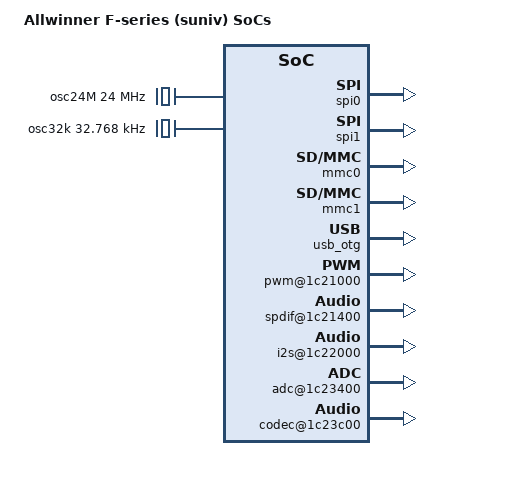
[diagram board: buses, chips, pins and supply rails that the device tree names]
/* SPDX-License-Identifier: GPL-2.0-or-later */
#include <dt-bindings/clk/suniv.h>

/ {
    #address-cells = <1>;
    #size-cells = <1>;
    model = "Allwinner F-series (suniv) SoCs";
    interrupt-parent = <&intc>;

    clocks {
        osc24M: clk-24M {
            #clock-cells = <0>;
            compatible = "fixed-clock";
            clock-frequency = <24000000>;
            clock-output-names = "osc24M";
        };

        osc32k: clk-32k {
            #clock-cells = <0>;
            compatible = "fixed-clock";
            clock-frequency = <32768>;
            clock-output-names = "osc32k";
        };
    };

    soc {
        #address-cells = <1>;
        #size-cells = <1>;
        compatible = "amba-bus";
		dma-ranges;
		ranges;

        system-controller@1c00000 {
            compatible = "allwinner,suniv-sram";
            reg = <0x01c00000 0x30>;
        };

        dma: dma-controller@1c02000 {
            #dma-cells = <1>;
            compatible = "allwinner,suniv-dma";
            reg = <0x01c02000 0x1000>;
            clocks = <&ccu SUNIV_CLK_DMA>;
            resets = <&reset SUNIV_CLK_DMA>;
        };

        spi0: spi@1c05000 {
            #address-cells = <1>;
            #size-cells = <0>;
            compatible = "allwinner,suniv-spi";
            reg = <0x01c05000 0x1000>;
            clocks = <&ccu SUNIV_CLK_SPI0>;
            resets = <&reset SUNIV_CLK_SPI0>;
        };

        spi1: spi@1c06000 {
            #address-cells = <1>;
            #size-cells = <0>;
            compatible = "allwinner,suniv-spi";
            reg = <0x01c05000 0x1000>;
            clocks = <&ccu SUNIV_CLK_SPI1>;
            resets = <&reset SUNIV_CLK_SPI1>;
        };

        mmc0: mmc@1c0f000 {
            compatible = "allwinner,suniv-mmc";
            reg = <0x01c0f000 0x1000>;
            clocks = <&ccu SUNIV_CLK_MMC0>;
            resets = <&reset SUNIV_CLK_MMC0>;
        };

        mmc1: mmc@1c10000 {
            compatible = "allwinner,suniv-mmc";
            reg = <0x01c10000 0x1000>;
            clocks = <&ccu SUNIV_CLK_MMC1>;
            resets = <&reset SUNIV_CLK_MMC1>;
        };

        usb_otg: usb@1c19000 {
            compatible = "allwinner,suniv-musb";
            reg = <0x01c13000 0x1000>;
            clocks = <&ccu SUNIV_CLK_OTG>;
            resets = <&reset SUNIV_CLK_OTG>;
        };

        ccu: clock@1c20000 {
            compatible = "allwinner,suniv-ccu";
            reg = <0x01c20000 0x2c0>;
            clocks = <&osc24M>, <&osc32k>;
            clock-names = "hosc", "losc";
            #clock-cells = <1>;
        };

        reset: reset@1c202c0 {
            compatible = "allwinner,suniv-reset";
            reg = <0x01c202c0 0x140>;
            #reset-cells = <1>;
        };

        intc: interrupt-controller@1c20400 {
            #interrupt-cells = <1>;
            #address-cells = <0>;
            compatible = "allwinner,suniv-intc";
            reg = <0x01c20400 0x400>;
            interrupt-controller;
        };

        pio: pinctrl@1c20800 {
            #interrupt-cells = <3>;
            #gpio-cells = <3>;
            #address-cells = <0>;
            compatible = "allwinner,suniv-pinctrl";
            reg = <0x01c20800 0x400>;
            clocks = <&ccu 37>, <&osc24M>, <&osc32k>;
            clock-names = "apb", "hosc", "losc";
            interrupts = <38>, <39>, <40>;
            interrupt-names = "PIOD", "PIOE", "PIOF";
            gpio-controller;
            interrupt-controller;

            uart0_pins: uart0-pins {
                pins = "PE0", "PE1";
                function = "uart0";
            };
        };

        timer@1c20c00 {
            compatible = "allwinner,suniv-timer";
            reg = <0x01c20c00 0x90>;
            interrupts = <13>;
            clocks = <&osc24M>;
        };

        wdt: watchdog@1c20ca0 {
            compatible = "allwinner,suniv-wdt";
            reg = <0x01c20ca0 0x20>;
            clocks = <&osc24M>;
        };

        pwm@1c21000 {
            compatible = "allwinner,suniv-pwm";
            reg = <0x01c21000 0x400>;
            clocks = <&osc24M>;
        };

        spdif@1c21400 {
            compatible = "allwinner,suniv-spdif";
            reg = <0x01c21400 0x400>;
            clocks = <&ccu SUNIV_CLK_OWA>;
            resets = <&reset SUNIV_CLK_OWA>;
        };

        rsb@1c21800 {
            compatible = "allwinner,suniv-rsb";
            reg = <0x01c21800 0x400>;
            clocks = <&ccu SUNIV_CLK_RSB>;
            resets = <&reset SUNIV_CLK_RSB>;
        };

        i2s@1c22000 {
            compatible = "allwinner,suniv-i2s";
            reg = <0x01c22000 0x400>;
            clocks = <&ccu SUNIV_CLK_DAUDIO>;
            resets = <&reset SUNIV_CLK_DAUDIO>;
        };

        cir@1c22C00 {
            compatible = "allwinner,suniv-cir";
            reg = <0x01c22C00 0x400>;
            clocks = <&ccu SUNIV_CLK_CIR>;
            resets = <&reset SUNIV_CLK_CIR>;
        };

        adc@1c23400 {
            compatible = "allwinner,suniv-adc";
            reg = <0x01c23400 0x400>;
        };

        codec@1c23c00 {
            compatible = "allwinner,suniv-codec";
            reg = <0x01c23c00 0x400>;
            clocks = <&ccu SUNIV_CLK_CODEC>;
            resets = <&reset SUNIV_CLK_CODEC>;
        };

        tp@1c24800 {
            compatible = "allwinner,suniv-tp";
            reg = <0x01c24800 0x400>;
        };

        uart0: serial@1c25000 {
            compatible = "snps,dw-apb-uart";
            reg = <0x01c25000 0x400>;
            interrupts = <1>;
            reg-shift = <2>;
            reg-io-width = <4>;
            clocks = <&ccu SUNIV_CLK_UART0>;
            resets = <&reset SUNIV_CLK_UART0>;
            status = "disabled";
        };

        uart1: serial@1c25400 {
            compatible = "snps,dw-apb-uart";
            reg = <0x01c25400 0x400>;
            interrupts = <2>;
            reg-shift = <2>;
            reg-io-width = <4>;
            clocks = <&ccu SUNIV_CLK_UART1>;
            resets = <&reset SUNIV_CLK_UART1>;
            status = "disabled";
        };

        uart2: serial@1c25800 {
            compatible = "snps,dw-apb-uart";
            reg = <0x01c25800 0x400>;
            interrupts = <3>;
            reg-shift = <2>;
            reg-io-width = <4>;
            clocks = <&ccu SUNIV_CLK_UART2>;
            resets = <&reset SUNIV_CLK_UART2>;
            status = "disabled";
        };

        i2c0: i2c@1c27000 {
            compatible = "allwinner,suniv-i2c";
            reg = <0x01c27000 0x400>;
            clocks = <&ccu SUNIV_CLK_TWI0>;
            resets = <&reset SUNIV_CLK_TWI0>;
            status = "disabled";
        };

        i2c1: i2c@1c27400 {
            compatible = "allwinner,suniv-i2c";
            reg = <0x01c27400 0x400>;
            clocks = <&ccu SUNIV_CLK_TWI1>;
            resets = <&reset SUNIV_CLK_TWI1>;
            status = "disabled";
        };

        i2c2: i2c@1c27800 {
            compatible = "allwinner,suniv-i2c";
            reg = <0x01c27800 0x400>;
            clocks = <&ccu SUNIV_CLK_TWI2>;
            resets = <&reset SUNIV_CLK_TWI2>;
            status = "disabled";
        };

        csi: csi@1cb0000 {
            compatible = "allwinner,suniv-csi";
            reg = <0x01cb0000 0x400>;
            clocks = <&ccu SUNIV_CLK_CSI>;
            resets = <&reset SUNIV_CLK_CSI>;
            status = "disabled";
        };
    };
};
